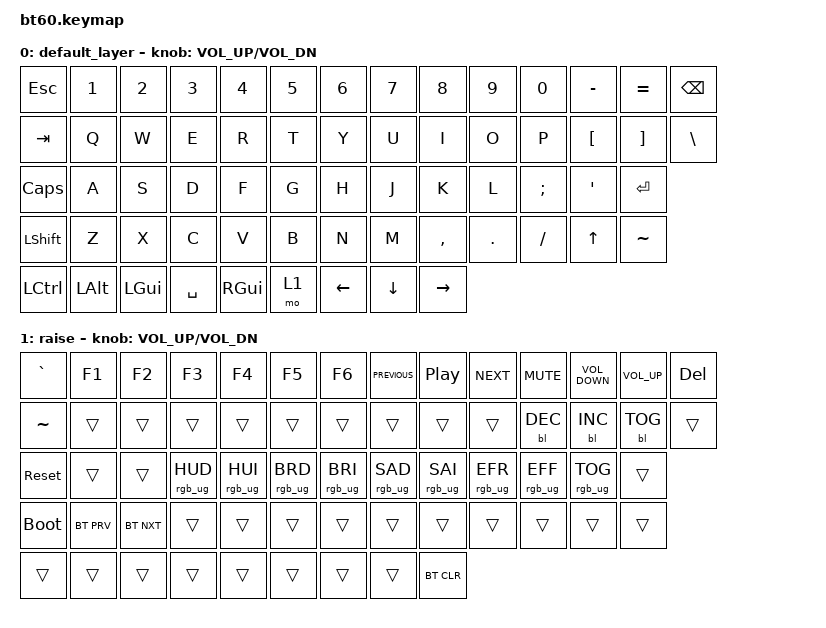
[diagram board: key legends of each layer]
#include <behaviors.dtsi>
#include <dt-bindings/zmk/backlight.h>
#include <dt-bindings/zmk/bt.h>
#include <dt-bindings/zmk/keys.h>
#include <dt-bindings/zmk/rgb.h>

/ {
    keymap {
        compatible = "zmk,keymap";

        default_layer {
            // ------------------------------------------------------------------------------------------
            // | ESC |  1  |  2  |  3  |  4  |  5  |  6  |  7  |  8  |  9  |  0  |  -  |  =  |BKSP | DEL |
            // | TAB  |  Q  |  W  |  E  |  R  |  T  |  Y  |  U  |  I  |  O  |  P  |  [  |  ]  |  |   |
            // | CAPS  |  A  |  S  |  D  |  F  |  G  |  H  |  J  |  K  |  L  |  ;  |  '  |     ENTER    |
            // |  SHIFT|NONE|  Z  |  X  |  C  |  V  |  B  |  N  |  M  |  ,  |  .  | /   | SHFT | UP | 1  |
            // |  CTL  |  WIN  |  ALT  |            SPACE              | ALT | CTRL | LEFT | DOWN | RIGHT |
            // ------------------------------------------------------------------------------------------

            bindings = <
&kp ESC    &kp N1    &kp N2    &kp N3     &kp N4         &kp N5  &kp N6    &kp N7    &kp N8     &kp N9   &kp N0     &kp MINUS  &kp EQUAL  &kp BSPC
&kp TAB    &kp Q     &kp W     &kp E      &kp R          &kp T   &kp Y     &kp U     &kp I      &kp O    &kp P      &kp LBKT   &kp RBKT   &kp BSLH
&kp CLCK   &kp A     &kp S     &kp D      &kp F          &kp G   &kp H     &kp J     &kp K      &kp L    &kp SEMI   &kp SQT    &kp RET
&kp LSHFT  &kp Z     &kp X     &kp C      &kp V          &kp B   &kp N     &kp M     &kp COMMA  &kp DOT  &kp SLASH  &kp UP     &kp TILDE
&kp LCTRL  &kp LALT  &kp LGUI  &kp SPACE  &kp RIGHT_GUI  &mo 1   &kp LEFT  &kp DOWN  &kp RIGHT
            >;

            sensor-bindings = <&inc_dec_kp C_VOL_UP C_VOL_DN>;
        };

        raise {
            bindings = <
&kp GRAVE    &kp F1      &kp F2      &kp F3           &kp F4           &kp F5           &kp F6           &kp C_PREVIOUS   &kp C_PLAY_PAUSE  &kp C_NEXT       &kp C_MUTE       &kp C_VOLUME_DOWN  &kp C_VOLUME_UP  &kp DEL
&kp TILDE    &trans      &trans      &trans           &trans           &trans           &trans           &trans           &trans            &trans           &bl BL_DEC       &bl BL_INC         &bl BL_TOG       &trans
&sys_reset   &trans      &trans      &rgb_ug RGB_HUD  &rgb_ug RGB_HUI  &rgb_ug RGB_BRD  &rgb_ug RGB_BRI  &rgb_ug RGB_SAD  &rgb_ug RGB_SAI   &rgb_ug RGB_EFR  &rgb_ug RGB_EFF  &rgb_ug RGB_TOG    &trans
&bootloader  &bt BT_PRV  &bt BT_NXT  &trans           &trans           &trans           &trans           &trans           &trans            &trans           &trans           &trans             &trans
&trans       &trans      &trans      &trans           &trans           &trans           &trans           &trans           &bt BT_CLR
            >;

            sensor-bindings = <&inc_dec_kp C_VOL_UP C_VOL_DN>;
        };
    };
};
